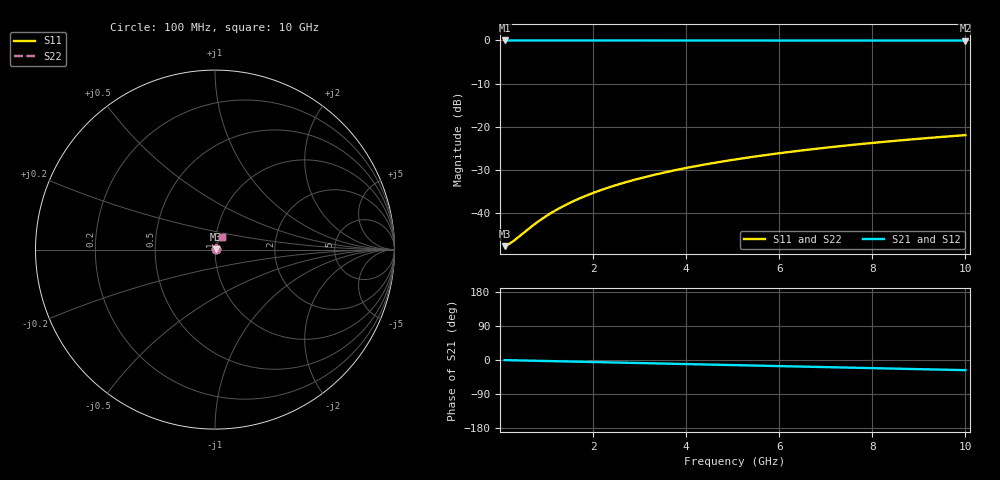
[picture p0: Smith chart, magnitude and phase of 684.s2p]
# Hz S RI R 50.00
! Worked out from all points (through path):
!   100 points, 100 MHz to 10 GHz, reference 50 ohm
!   highest |S21| = -0.04 dB at 100 MHz (marker M1); lowest = -0.1 dB at 10 GHz (marker M2)
!   group delay of S21, straight-line fit = 7.45 ps
!   lowest |S11| = -47.6 dB at 100 MHz (marker M3), VSWR 1.01, Z = 50.4 + j0.0819 ohm
!   |S11| at or under -10 dB: start of sweep to end of sweep
!   |S22| runs from -47.6 to -21.9 dB; largest |S21 - S12| = 0
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1e8  0.00407 0.000813  0.9959 -0.00466  0.9959 -0.00466  0.00407 0.000813
2e8  0.00411 0.00162  0.9959 -0.00932  0.9959 -0.00932  0.00411 0.00162
3e8  0.00415 0.00244  0.9958 -0.014  0.9958 -0.014  0.00415 0.00244
6e8  0.00429 0.00487  0.9954 -0.028  0.9954 -0.028  0.00429 0.00487
8e8  0.00441 0.00649  0.9951 -0.0373  0.9951 -0.0373  0.00441 0.00649
9e8  0.00448 0.0073  0.9949 -0.0419  0.9949 -0.0419  0.00448 0.0073
1.1e9  0.00465 0.00891  0.9944 -0.0512  0.9944 -0.0512  0.00465 0.00891
1.4e9  0.00496 0.0113  0.9935 -0.0652  0.9935 -0.0652  0.00496 0.0113
1.6e9  0.00519 0.0129  0.9928 -0.0745  0.9928 -0.0745  0.00519 0.0129
1.8e9  0.00546 0.0145  0.9921 -0.0838  0.9921 -0.0838  0.00546 0.0145
2.1e9  0.00592 0.0169  0.9907 -0.0977  0.9907 -0.0977  0.00592 0.0169
2.5e9  0.00663 0.0201  0.9886 -0.1162  0.9886 -0.1162  0.00663 0.0201
2.9e9  0.00746 0.0232  0.9862 -0.1347  0.9862 -0.1347  0.00746 0.0232
3.4e9  0.00867 0.0271  0.9826 -0.1577  0.9826 -0.1577  0.00867 0.0271
3.8e9  0.00976 0.0302  0.9794 -0.1761  0.9794 -0.1761  0.00976 0.0302
4.2e9  0.011 0.0332  0.9758 -0.1944  0.9758 -0.1944  0.011 0.0332
5.1e9  0.0141 0.0397  0.9664 -0.2352  0.9664 -0.2352  0.0141 0.0397
5.9e9  0.0173 0.0454  0.9566 -0.2711  0.9566 -0.2711  0.0173 0.0454
6.7e9  0.0209 0.0507  0.9454 -0.3066  0.9454 -0.3066  0.0209 0.0507
7.5e9  0.025 0.0558  0.9329 -0.3417  0.9329 -0.3417  0.025 0.0558
8.4e9  0.0299 0.0611  0.9173 -0.3804  0.9173 -0.3804  0.0299 0.0611
1e10  0.0398 0.0694  0.8854 -0.4475  0.8854 -0.4475  0.0398 0.0694
